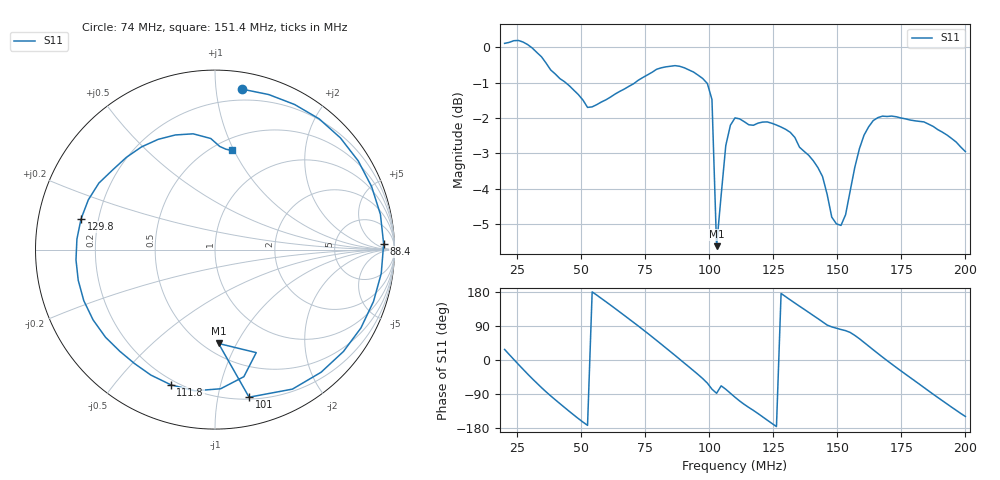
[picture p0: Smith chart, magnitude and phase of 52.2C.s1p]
# HZ S RI R 50
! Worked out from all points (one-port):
!   101 points, 20 MHz to 200 MHz, reference 50 ohm
!   lowest |S11| = -5.6 dB at 102.8 MHz (marker M1), VSWR 3.20, Z = 29.4 - j42.4 ohm
!   |S11| at or under -10 dB: nowhere
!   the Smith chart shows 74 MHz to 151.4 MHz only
!   S11 on the Smith chart (normalised r, x): 74 MHz: 0.12, +1.18; 88.4 MHz: 25, +14; 101 MHz: 0.22, -1.23; 111.8 MHz: 0.18, -0.71; 129.8 MHz: 0.13, +0.11; 151.4 MHz: 0.61, +0.98
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2e7  0.896 0.4728
2.54e7  1.002 -0.2067
3.26e7  0.4761 -0.8607
3.8e7  -0.0758 -0.9261
4.34e7  -0.5155 -0.7307
4.88e7  -0.7744 -0.3685
5.42e7  -0.8239 0.00327
6.5e7  -0.5166 0.6958
7.4e7  0.152 0.8938
8.12e7  0.6985 0.6226
8.84e7  0.9397 0.0321
9.56e7  0.7158 -0.5674
1.01e8  0.1898 -0.8223
1.028e8  0.0198 -0.523
1.046e8  0.2297 -0.5741
1.1e8  -0.1136 -0.7866
1.118e8  -0.2462 -0.7531
1.226e8  -0.731 -0.2847
1.298e8  -0.7463 0.1711
1.334e8  -0.647 0.3706
1.424e8  -0.2213 0.6387
1.514e8  0.0928 0.5522
1.55e8  0.1865 0.5984
1.604e8  0.518 0.5442
1.676e8  0.792 0.1081
1.784e8  0.5467 -0.5693
1.874e8  -0.00246 -0.7732
2e8  -0.6105 -0.3668
